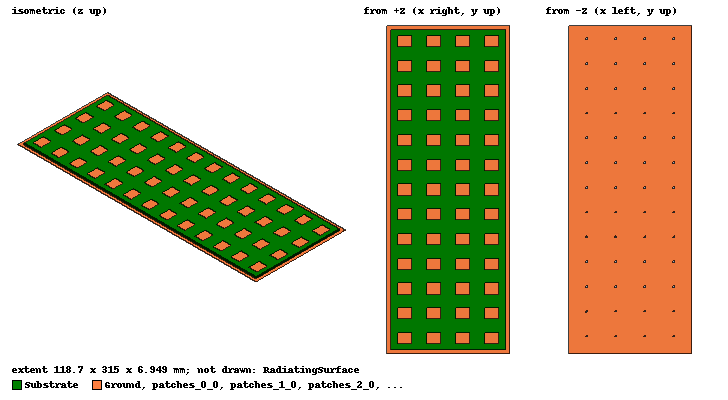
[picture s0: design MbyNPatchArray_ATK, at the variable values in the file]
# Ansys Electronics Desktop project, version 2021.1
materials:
  vacuum: permittivity=1
  Teflon (tm): permittivity=2.1 dielectric_loss_tangent=0.001
  pec: conductivity=1e+30

design MbyNPatchArray_ATK (HFSS, DrivenTerminal, model units mm)
options: Allow_Material_Override Save_Adaptive_support_files
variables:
  # --Antenna Dimensions
  M = 4
  N = 13
  # --Patch Dimensions
  patch_length_x = 13.39mm
  patch_length_y = 10.66mm
  patch_spacing_x = 27.881mm
  patch_spacing_y = 23.783mm
  feed_pin_x = 0mm
  feed_pin_y = 2.09mm
  # --Feed Dimensions
  coax_inner_rad = 0.278mm
  coax_outer_rad = 0.944mm
  feedLength = 5.55mm
  # --Substrate Dimensions
  substrate_height = 1.272mm
  substrate_length_x = 110.415mm
  substrate_length_y = 306.708mm
  design_freq = 9GHz
  gnd_x = (299792458/(design_freq)/4)+substrate_length_x
  gnd_y = (299792458/(design_freq)/4)+substrate_length_y
  # --Radiating Surface
  Huygens_dist = 3.331mm
  Airbox_dist = 11.1034mm
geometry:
  Substrate [Teflon (tm)] = box(corner=(-substrate_length_x/2, -substrate_length_y/2, 0mm), size=(substrate_length_x, substrate_length_y, substrate_height))
  Ground = rectangle(corner=(-gnd_x/2, -gnd_y/2, 0mm), x_size=gnd_x, y_size=gnd_y)
  patches_0_0 = rectangle(corner=(-patch_length_x/2, -patch_length_y/2, substrate_height), x_size=patch_length_x, y_size=patch_length_y)
  feed_pin_0_0 [pec] = cylinder(axis=Z, base_centre=(feed_pin_x, feed_pin_y, 0mm), radius=coax_inner_rad, height=substrate_height)
  coax_pin_0_0 [pec] = cylinder(axis=Z, base_centre=(feed_pin_x, feed_pin_y, 0mm), radius=coax_inner_rad, height=-feedLength)
  coax_0_0 [Teflon (tm)] = cylinder(axis=Z, base_centre=(feed_pin_x, feed_pin_y, 0mm), radius=coax_outer_rad, height=-feedLength)
  port_cap_0_0 [pec] = cylinder(axis=Z, base_centre=(feed_pin_x, feed_pin_y, -feedLength), radius=coax_outer_rad, height=-substrate_height/10)
  port_0_0 = circle(normal=Z, centre=(feed_pin_x, feed_pin_y, -feedLength), radius=coax_outer_rad)
  NewObject_ECRMW8 = circle(normal=Z, centre=(feed_pin_x, feed_pin_y, 0mm), radius=coax_outer_rad)
  patches_0_0.move(-patch_spacing_x * 1.5, -patch_spacing_y * 6, 0)
  patches_1_0, patches_2_0, patches_3_0 = patches_0_0.duplicate_along_line(step=(patch_spacing_x, 0mm, 0mm), total=4)
  patches_0_1..patches_0_12 = patches_0_0.duplicate_along_line(step=(0mm, patch_spacing_y, 0mm), total=13)
  patches_1_1..patches_1_12 = patches_1_0.duplicate_along_line(step=(0mm, patch_spacing_y, 0mm), total=13)
  patches_2_1..patches_2_12 = patches_2_0.duplicate_along_line(step=(0mm, patch_spacing_y, 0mm), total=13)
  patches_3_1..patches_3_12 = patches_3_0.duplicate_along_line(step=(0mm, patch_spacing_y, 0mm), total=13)
  feed_pin_0_0.move(-patch_spacing_x * 1.5, -patch_spacing_y * 6, 0)
  feed_pin_1_0, feed_pin_2_0, feed_pin_3_0 [pec] = feed_pin_0_0.duplicate_along_line(step=(patch_spacing_x, 0mm, 0mm), total=4)
  feed_pin_0_1..feed_pin_0_12 [pec] = feed_pin_0_0.duplicate_along_line(step=(0mm, patch_spacing_y, 0mm), total=13)
  feed_pin_1_1..feed_pin_1_12 [pec] = feed_pin_1_0.duplicate_along_line(step=(0mm, patch_spacing_y, 0mm), total=13)
  feed_pin_2_1..feed_pin_2_12 [pec] = feed_pin_2_0.duplicate_along_line(step=(0mm, patch_spacing_y, 0mm), total=13)
  feed_pin_3_1..feed_pin_3_12 [pec] = feed_pin_3_0.duplicate_along_line(step=(0mm, patch_spacing_y, 0mm), total=13)
  coax_pin_0_0.move(-patch_spacing_x * 1.5, -patch_spacing_y * 6, 0)
  coax_pin_1_0, coax_pin_2_0, coax_pin_3_0 [pec] = coax_pin_0_0.duplicate_along_line(step=(patch_spacing_x, 0mm, 0mm), total=4)
  coax_pin_0_1..coax_pin_0_12 [pec] = coax_pin_0_0.duplicate_along_line(step=(0mm, patch_spacing_y, 0mm), total=13)
  coax_pin_1_1..coax_pin_1_12 [pec] = coax_pin_1_0.duplicate_along_line(step=(0mm, patch_spacing_y, 0mm), total=13)
  coax_pin_2_1..coax_pin_2_12 [pec] = coax_pin_2_0.duplicate_along_line(step=(0mm, patch_spacing_y, 0mm), total=13)
  coax_pin_3_1..coax_pin_3_12 [pec] = coax_pin_3_0.duplicate_along_line(step=(0mm, patch_spacing_y, 0mm), total=13)
  coax_0_0.move(-patch_spacing_x * 1.5, -patch_spacing_y * 6, 0)
  coax_1_0, coax_2_0, coax_3_0 [Teflon (tm)] = coax_0_0.duplicate_along_line(step=(patch_spacing_x, 0mm, 0mm), total=4)
  coax_0_1..coax_0_12 [Teflon (tm)] = coax_0_0.duplicate_along_line(step=(0mm, patch_spacing_y, 0mm), total=13)
  coax_1_1..coax_1_12 [Teflon (tm)] = coax_1_0.duplicate_along_line(step=(0mm, patch_spacing_y, 0mm), total=13)
  coax_2_1..coax_2_12 [Teflon (tm)] = coax_2_0.duplicate_along_line(step=(0mm, patch_spacing_y, 0mm), total=13)
  coax_3_1..coax_3_12 [Teflon (tm)] = coax_3_0.duplicate_along_line(step=(0mm, patch_spacing_y, 0mm), total=13)
  port_cap_0_0.move(-patch_spacing_x * 1.5, -patch_spacing_y * 6, 0)
  port_cap_1_0, port_cap_2_0, port_cap_3_0 [pec] = port_cap_0_0.duplicate_along_line(step=(patch_spacing_x, 0mm, 0mm), total=4)
  port_cap_0_1..port_cap_0_12 [pec] = port_cap_0_0.duplicate_along_line(step=(0mm, patch_spacing_y, 0mm), total=13)
  port_cap_1_1..port_cap_1_12 [pec] = port_cap_1_0.duplicate_along_line(step=(0mm, patch_spacing_y, 0mm), total=13)
  port_cap_2_1..port_cap_2_12 [pec] = port_cap_2_0.duplicate_along_line(step=(0mm, patch_spacing_y, 0mm), total=13)
  port_cap_3_1..port_cap_3_12 [pec] = port_cap_3_0.duplicate_along_line(step=(0mm, patch_spacing_y, 0mm), total=13)
  port_0_0.move(-patch_spacing_x * 1.5, -patch_spacing_y * 6, 0)
  port_1_0, port_2_0, port_3_0 = port_0_0.duplicate_along_line(step=(patch_spacing_x, 0mm, 0mm), total=4)
  port_0_1..port_0_12 = port_0_0.duplicate_along_line(step=(0mm, patch_spacing_y, 0mm), total=13)
  port_1_1..port_1_12 = port_1_0.duplicate_along_line(step=(0mm, patch_spacing_y, 0mm), total=13)
  port_2_1..port_2_12 = port_2_0.duplicate_along_line(step=(0mm, patch_spacing_y, 0mm), total=13)
  port_3_1..port_3_12 = port_3_0.duplicate_along_line(step=(0mm, patch_spacing_y, 0mm), total=13)
  NewObject_ECRMW8.move(-patch_spacing_x * 1.5, -patch_spacing_y * 6, 0)
  NewObject_ECRMW8_1, NewObject_ECRMW8_2, NewObject_ECRMW8_3 = NewObject_ECRMW8.duplicate_along_line(step=(patch_spacing_x, 0mm, 0mm), total=4)
  NewObject_ECRMW8_4..NewObject_ECRMW8_15 = NewObject_ECRMW8.duplicate_along_line(step=(0mm, patch_spacing_y, 0mm), total=13)
  NewObject_ECRMW8_1_1..NewObject_ECRMW8_1_12 = NewObject_ECRMW8_1.duplicate_along_line(step=(0mm, patch_spacing_y, 0mm), total=13)
  NewObject_ECRMW8_2_1..NewObject_ECRMW8_2_12 = NewObject_ECRMW8_2.duplicate_along_line(step=(0mm, patch_spacing_y, 0mm), total=13)
  NewObject_ECRMW8_3_1..NewObject_ECRMW8_3_12 = NewObject_ECRMW8_3.duplicate_along_line(step=(0mm, patch_spacing_y, 0mm), total=13)
  Ground.subtract(NewObject_ECRMW8, NewObject_ECRMW8_4..NewObject_ECRMW8_15)
  Ground.subtract(NewObject_ECRMW8_1, NewObject_ECRMW8_1_1..NewObject_ECRMW8_1_12)
  Ground.subtract(NewObject_ECRMW8_2, NewObject_ECRMW8_2_1..NewObject_ECRMW8_2_12)
  Ground.subtract(NewObject_ECRMW8_3, NewObject_ECRMW8_3_1..NewObject_ECRMW8_3_12)
  RadiatingSurface [vacuum] = region(absolute_offset: +X=0cm, -X=0cm, +Y=0cm, -Y=0cm, +Z=11.111111mm, -Z=0mm)
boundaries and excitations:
  antennaMetal_0_0: Perfect E Objects=patches_0_0
  antennaMetal_0_1: Perfect E Objects=patches_0_1
  antennaMetal_0_2: Perfect E Objects=patches_0_2
  antennaMetal_0_3: Perfect E Objects=patches_0_3
  antennaMetal_0_4: Perfect E Objects=patches_0_4
  antennaMetal_0_5: Perfect E Objects=patches_0_5
  antennaMetal_0_6: Perfect E Objects=patches_0_6
  antennaMetal_0_7: Perfect E Objects=patches_0_7
  antennaMetal_0_8: Perfect E Objects=patches_0_8
  antennaMetal_0_9: Perfect E Objects=patches_0_9
  antennaMetal_0_10: Perfect E Objects=patches_0_10
  antennaMetal_0_11: Perfect E Objects=patches_0_11
  antennaMetal_0_12: Perfect E Objects=patches_0_12
  antennaMetal_1_0: Perfect E Objects=patches_1_0
  antennaMetal_1_1: Perfect E Objects=patches_1_1
  antennaMetal_1_2: Perfect E Objects=patches_1_2
  antennaMetal_1_3: Perfect E Objects=patches_1_3
  antennaMetal_1_4: Perfect E Objects=patches_1_4
  antennaMetal_1_5: Perfect E Objects=patches_1_5
  antennaMetal_1_6: Perfect E Objects=patches_1_6
  antennaMetal_1_7: Perfect E Objects=patches_1_7
  antennaMetal_1_8: Perfect E Objects=patches_1_8
  antennaMetal_1_9: Perfect E Objects=patches_1_9
  antennaMetal_1_10: Perfect E Objects=patches_1_10
  antennaMetal_1_11: Perfect E Objects=patches_1_11
  antennaMetal_1_12: Perfect E Objects=patches_1_12
  antennaMetal_2_0: Perfect E Objects=patches_2_0
  antennaMetal_2_1: Perfect E Objects=patches_2_1
  antennaMetal_2_2: Perfect E Objects=patches_2_2
  antennaMetal_2_3: Perfect E Objects=patches_2_3
  antennaMetal_2_4: Perfect E Objects=patches_2_4
  antennaMetal_2_5: Perfect E Objects=patches_2_5
  antennaMetal_2_6: Perfect E Objects=patches_2_6
  antennaMetal_2_7: Perfect E Objects=patches_2_7
  antennaMetal_2_8: Perfect E Objects=patches_2_8
  antennaMetal_2_9: Perfect E Objects=patches_2_9
  antennaMetal_2_10: Perfect E Objects=patches_2_10
  antennaMetal_2_11: Perfect E Objects=patches_2_11
  antennaMetal_2_12: Perfect E Objects=patches_2_12
  antennaMetal_3_0: Perfect E Objects=patches_3_0
  antennaMetal_3_1: Perfect E Objects=patches_3_1
  antennaMetal_3_2: Perfect E Objects=patches_3_2
  antennaMetal_3_3: Perfect E Objects=patches_3_3
  antennaMetal_3_4: Perfect E Objects=patches_3_4
  antennaMetal_3_5: Perfect E Objects=patches_3_5
  antennaMetal_3_6: Perfect E Objects=patches_3_6
  antennaMetal_3_7: Perfect E Objects=patches_3_7
  antennaMetal_3_8: Perfect E Objects=patches_3_8
  antennaMetal_3_9: Perfect E Objects=patches_3_9
  antennaMetal_3_10: Perfect E Objects=patches_3_10
  antennaMetal_3_11: Perfect E Objects=patches_3_11
  antennaMetal_3_12: Perfect E Objects=patches_3_12
  coax_outer_0_0: Perfect E Faces=coax_0_0.face(1 of 3)
  coax_outer_0_1: Perfect E Faces=coax_0_1.face(1 of 3)
  coax_outer_0_2: Perfect E Faces=coax_0_2.face(1 of 3)
  coax_outer_0_3: Perfect E Faces=coax_0_3.face(1 of 3)
  coax_outer_0_4: Perfect E Faces=coax_0_4.face(1 of 3)
  coax_outer_0_5: Perfect E Faces=coax_0_5.face(1 of 3)
  coax_outer_0_6: Perfect E Faces=coax_0_6.face(1 of 3)
  coax_outer_0_7: Perfect E Faces=coax_0_7.face(1 of 3)
  coax_outer_0_8: Perfect E Faces=coax_0_8.face(1 of 3)
  coax_outer_0_9: Perfect E Faces=coax_0_9.face(1 of 3)
  coax_outer_0_10: Perfect E Faces=coax_0_10.face(1 of 3)
  coax_outer_0_11: Perfect E Faces=coax_0_11.face(1 of 3)
  coax_outer_0_12: Perfect E Faces=coax_0_12.face(1 of 3)
  coax_outer_1_0: Perfect E Faces=coax_1_0.face(1 of 3)
  coax_outer_1_1: Perfect E Faces=coax_1_1.face(1 of 3)
  coax_outer_1_2: Perfect E Faces=coax_1_2.face(1 of 3)
  coax_outer_1_3: Perfect E Faces=coax_1_3.face(1 of 3)
  coax_outer_1_4: Perfect E Faces=coax_1_4.face(1 of 3)
  coax_outer_1_5: Perfect E Faces=coax_1_5.face(1 of 3)
  coax_outer_1_6: Perfect E Faces=coax_1_6.face(1 of 3)
  coax_outer_1_7: Perfect E Faces=coax_1_7.face(1 of 3)
  coax_outer_1_8: Perfect E Faces=coax_1_8.face(1 of 3)
  coax_outer_1_9: Perfect E Faces=coax_1_9.face(1 of 3)
  coax_outer_1_10: Perfect E Faces=coax_1_10.face(1 of 3)
  coax_outer_1_11: Perfect E Faces=coax_1_11.face(1 of 3)
  coax_outer_1_12: Perfect E Faces=coax_1_12.face(1 of 3)
  coax_outer_2_0: Perfect E Faces=coax_2_0.face(1 of 3)
  coax_outer_2_1: Perfect E Faces=coax_2_1.face(1 of 3)
  coax_outer_2_2: Perfect E Faces=coax_2_2.face(1 of 3)
  coax_outer_2_3: Perfect E Faces=coax_2_3.face(1 of 3)
  coax_outer_2_4: Perfect E Faces=coax_2_4.face(1 of 3)
  coax_outer_2_5: Perfect E Faces=coax_2_5.face(1 of 3)
  coax_outer_2_6: Perfect E Faces=coax_2_6.face(1 of 3)
  coax_outer_2_7: Perfect E Faces=coax_2_7.face(1 of 3)
  coax_outer_2_8: Perfect E Faces=coax_2_8.face(1 of 3)
  coax_outer_2_9: Perfect E Faces=coax_2_9.face(1 of 3)
  coax_outer_2_10: Perfect E Faces=coax_2_10.face(1 of 3)
  coax_outer_2_11: Perfect E Faces=coax_2_11.face(1 of 3)
  coax_outer_2_12: Perfect E Faces=coax_2_12.face(1 of 3)
  coax_outer_3_0: Perfect E Faces=coax_3_0.face(1 of 3)
  coax_outer_3_1: Perfect E Faces=coax_3_1.face(1 of 3)
  coax_outer_3_2: Perfect E Faces=coax_3_2.face(1 of 3)
  coax_outer_3_3: Perfect E Faces=coax_3_3.face(1 of 3)
  coax_outer_3_4: Perfect E Faces=coax_3_4.face(1 of 3)
  coax_outer_3_5: Perfect E Faces=coax_3_5.face(1 of 3)
  coax_outer_3_6: Perfect E Faces=coax_3_6.face(1 of 3)
  coax_outer_3_7: Perfect E Faces=coax_3_7.face(1 of 3)
  coax_outer_3_8: Perfect E Faces=coax_3_8.face(1 of 3)
  coax_outer_3_9: Perfect E Faces=coax_3_9.face(1 of 3)
  coax_outer_3_10: Perfect E Faces=coax_3_10.face(1 of 3)
  coax_outer_3_11: Perfect E Faces=coax_3_11.face(1 of 3)
  coax_outer_3_12: Perfect E Faces=coax_3_12.face(1 of 3)
  groundMetal: Perfect E Objects=Ground InfGroundPlane
  Open1: Radiation Faces=RadiatingSurface.face(+z, -y, -x, +y, +x)
  coax_pin_0_0_T1: Terminal port=1 Faces=coax_pin_0_0.face(2 of 3) TerminalResistance=50ohm
  coax_pin_0_1_T1: Terminal port=2 Faces=coax_pin_0_1.face(2 of 3) TerminalResistance=50ohm
  coax_pin_0_2_T1: Terminal port=3 Faces=coax_pin_0_2.face(2 of 3) TerminalResistance=50ohm
  coax_pin_0_3_T1: Terminal port=4 Faces=coax_pin_0_3.face(2 of 3) TerminalResistance=50ohm
  coax_pin_0_4_T1: Terminal port=5 Faces=coax_pin_0_4.face(2 of 3) TerminalResistance=50ohm
  coax_pin_0_5_T1: Terminal port=6 Faces=coax_pin_0_5.face(2 of 3) TerminalResistance=50ohm
  coax_pin_0_6_T1: Terminal port=7 Faces=coax_pin_0_6.face(2 of 3) TerminalResistance=50ohm
  coax_pin_0_7_T1: Terminal port=8 Faces=coax_pin_0_7.face(2 of 3) TerminalResistance=50ohm
  coax_pin_0_8_T1: Terminal port=9 Faces=coax_pin_0_8.face(2 of 3) TerminalResistance=50ohm
  coax_pin_0_9_T1: Terminal port=10 Faces=coax_pin_0_9.face(2 of 3) TerminalResistance=50ohm
  coax_pin_0_10_T1: Terminal port=11 Faces=coax_pin_0_10.face(2 of 3) TerminalResistance=50ohm
  coax_pin_0_11_T1: Terminal port=12 Faces=coax_pin_0_11.face(2 of 3) TerminalResistance=50ohm
  coax_pin_0_12_T1: Terminal port=13 Faces=coax_pin_0_12.face(2 of 3) TerminalResistance=50ohm
  coax_pin_1_0_T1: Terminal port=14 Faces=coax_pin_1_0.face(2 of 3) TerminalResistance=50ohm
  coax_pin_1_1_T1: Terminal port=15 Faces=coax_pin_1_1.face(2 of 3) TerminalResistance=50ohm
  coax_pin_1_2_T1: Terminal port=16 Faces=coax_pin_1_2.face(2 of 3) TerminalResistance=50ohm
  coax_pin_1_3_T1: Terminal port=17 Faces=coax_pin_1_3.face(2 of 3) TerminalResistance=50ohm
  coax_pin_1_4_T1: Terminal port=18 Faces=coax_pin_1_4.face(2 of 3) TerminalResistance=50ohm
  coax_pin_1_5_T1: Terminal port=19 Faces=coax_pin_1_5.face(2 of 3) TerminalResistance=50ohm
  coax_pin_1_6_T1: Terminal port=20 Faces=coax_pin_1_6.face(2 of 3) TerminalResistance=50ohm
  coax_pin_1_7_T1: Terminal port=21 Faces=coax_pin_1_7.face(2 of 3) TerminalResistance=50ohm
  coax_pin_1_8_T1: Terminal port=22 Faces=coax_pin_1_8.face(2 of 3) TerminalResistance=50ohm
  coax_pin_1_9_T1: Terminal port=23 Faces=coax_pin_1_9.face(2 of 3) TerminalResistance=50ohm
  coax_pin_1_10_T1: Terminal port=24 Faces=coax_pin_1_10.face(2 of 3) TerminalResistance=50ohm
  coax_pin_1_11_T1: Terminal port=25 Faces=coax_pin_1_11.face(2 of 3) TerminalResistance=50ohm
  coax_pin_1_12_T1: Terminal port=26 Faces=coax_pin_1_12.face(2 of 3) TerminalResistance=50ohm
  coax_pin_2_0_T1: Terminal port=27 Faces=coax_pin_2_0.face(2 of 3) TerminalResistance=50ohm
  coax_pin_2_1_T1: Terminal port=28 Faces=coax_pin_2_1.face(2 of 3) TerminalResistance=50ohm
  coax_pin_2_2_T1: Terminal port=29 Faces=coax_pin_2_2.face(2 of 3) TerminalResistance=50ohm
  coax_pin_2_3_T1: Terminal port=30 Faces=coax_pin_2_3.face(2 of 3) TerminalResistance=50ohm
  coax_pin_2_4_T1: Terminal port=31 Faces=coax_pin_2_4.face(2 of 3) TerminalResistance=50ohm
  coax_pin_2_5_T1: Terminal port=32 Faces=coax_pin_2_5.face(2 of 3) TerminalResistance=50ohm
  coax_pin_2_6_T1: Terminal port=33 Faces=coax_pin_2_6.face(2 of 3) TerminalResistance=50ohm
  coax_pin_2_7_T1: Terminal port=34 Faces=coax_pin_2_7.face(2 of 3) TerminalResistance=50ohm
  coax_pin_2_8_T1: Terminal port=35 Faces=coax_pin_2_8.face(2 of 3) TerminalResistance=50ohm
  coax_pin_2_9_T1: Terminal port=36 Faces=coax_pin_2_9.face(2 of 3) TerminalResistance=50ohm
  coax_pin_2_10_T1: Terminal port=37 Faces=coax_pin_2_10.face(2 of 3) TerminalResistance=50ohm
  coax_pin_2_11_T1: Terminal port=38 Faces=coax_pin_2_11.face(2 of 3) TerminalResistance=50ohm
  coax_pin_2_12_T1: Terminal port=39 Faces=coax_pin_2_12.face(2 of 3) TerminalResistance=50ohm
  coax_pin_3_0_T1: Terminal port=40 Faces=coax_pin_3_0.face(2 of 3) TerminalResistance=50ohm
  coax_pin_3_1_T1: Terminal port=41 Faces=coax_pin_3_1.face(2 of 3) TerminalResistance=50ohm
  coax_pin_3_2_T1: Terminal port=42 Faces=coax_pin_3_2.face(2 of 3) TerminalResistance=50ohm
  coax_pin_3_3_T1: Terminal port=43 Faces=coax_pin_3_3.face(2 of 3) TerminalResistance=50ohm
  coax_pin_3_4_T1: Terminal port=44 Faces=coax_pin_3_4.face(2 of 3) TerminalResistance=50ohm
  coax_pin_3_5_T1: Terminal port=45 Faces=coax_pin_3_5.face(2 of 3) TerminalResistance=50ohm
  coax_pin_3_6_T1: Terminal port=46 Faces=coax_pin_3_6.face(2 of 3) TerminalResistance=50ohm
  coax_pin_3_7_T1: Terminal port=47 Faces=coax_pin_3_7.face(2 of 3) TerminalResistance=50ohm
  coax_pin_3_8_T1: Terminal port=48 Faces=coax_pin_3_8.face(2 of 3) TerminalResistance=50ohm
  coax_pin_3_9_T1: Terminal port=49 Faces=coax_pin_3_9.face(2 of 3) TerminalResistance=50ohm
  coax_pin_3_10_T1: Terminal port=50 Faces=coax_pin_3_10.face(2 of 3) TerminalResistance=50ohm
  coax_pin_3_11_T1: Terminal port=51 Faces=coax_pin_3_11.face(2 of 3) TerminalResistance=50ohm
  coax_pin_3_12_T1: Terminal port=52 Faces=coax_pin_3_12.face(2 of 3) TerminalResistance=50ohm
  1: Wave Port Faces=port_0_0.face(#98) NumModes=1
  2: Wave Port Faces=port_0_1.face NumModes=1
  3: Wave Port Faces=port_0_2.face NumModes=1
  4: Wave Port Faces=port_0_3.face NumModes=1
  5: Wave Port Faces=port_0_4.face NumModes=1
  6: Wave Port Faces=port_0_5.face NumModes=1
  7: Wave Port Faces=port_0_6.face NumModes=1
  8: Wave Port Faces=port_0_7.face NumModes=1
  9: Wave Port Faces=port_0_8.face NumModes=1
  10: Wave Port Faces=port_0_9.face NumModes=1
  11: Wave Port Faces=port_0_10.face NumModes=1
  12: Wave Port Faces=port_0_11.face NumModes=1
  13: Wave Port Faces=port_0_12.face NumModes=1
  14: Wave Port Faces=port_1_0.face NumModes=1
  15: Wave Port Faces=port_1_1.face NumModes=1
  16: Wave Port Faces=port_1_2.face NumModes=1
  17: Wave Port Faces=port_1_3.face NumModes=1
  18: Wave Port Faces=port_1_4.face NumModes=1
  19: Wave Port Faces=port_1_5.face NumModes=1
  20: Wave Port Faces=port_1_6.face NumModes=1
  21: Wave Port Faces=port_1_7.face NumModes=1
  22: Wave Port Faces=port_1_8.face NumModes=1
  23: Wave Port Faces=port_1_9.face NumModes=1
  24: Wave Port Faces=port_1_10.face NumModes=1
  25: Wave Port Faces=port_1_11.face NumModes=1
  26: Wave Port Faces=port_1_12.face NumModes=1
  27: Wave Port Faces=port_2_0.face NumModes=1
  28: Wave Port Faces=port_2_1.face NumModes=1
  29: Wave Port Faces=port_2_2.face NumModes=1
  30: Wave Port Faces=port_2_3.face NumModes=1
  31: Wave Port Faces=port_2_4.face NumModes=1
  32: Wave Port Faces=port_2_5.face NumModes=1
  33: Wave Port Faces=port_2_6.face NumModes=1
  34: Wave Port Faces=port_2_7.face NumModes=1
  35: Wave Port Faces=port_2_8.face NumModes=1
  36: Wave Port Faces=port_2_9.face NumModes=1
  37: Wave Port Faces=port_2_10.face NumModes=1
  38: Wave Port Faces=port_2_11.face NumModes=1
  39: Wave Port Faces=port_2_12.face NumModes=1
  40: Wave Port Faces=port_3_0.face NumModes=1
  41: Wave Port Faces=port_3_1.face NumModes=1
  42: Wave Port Faces=port_3_2.face NumModes=1
  43: Wave Port Faces=port_3_3.face NumModes=1
  44: Wave Port Faces=port_3_4.face NumModes=1
  45: Wave Port Faces=port_3_5.face NumModes=1
  46: Wave Port Faces=port_3_6.face NumModes=1
  47: Wave Port Faces=port_3_7.face NumModes=1
  48: Wave Port Faces=port_3_8.face NumModes=1
  49: Wave Port Faces=port_3_9.face NumModes=1
  50: Wave Port Faces=port_3_10.face NumModes=1
  51: Wave Port Faces=port_3_11.face NumModes=1
  52: Wave Port Faces=port_3_12.face NumModes=1
  reference conductors: port_cap_3_12
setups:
  ATK_Solution: HfssDriven Frequency=9GHz MaxDeltaS=0.02 MaximumPasses=15 MinimumPasses=1 MinimumConvergedPasses=1 PercentRefinement=30 BasisOrder=1 PortAccuracy=2 IESolverType=ACA
    sweep FF_Sweep: 4.5GHz to 13.5GHz, 3 points; Type=Discrete SaveFields
    sweep SParam_Sweep: 4.5GHz to 13.5GHz, 100 points; Type=Interpolating InterpTolerance=0.5 InterpMaxSolns=250 PassivityErrorTolerance=0.0001
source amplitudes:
  1:1: 1V 0deg
  2:1, 3:1, 4:1, 5:1, 6:1, 7:1, 8:1, 9:1, 10:1, 11:1, 12:1, 13:1, 14:1, 15:1, 16:1, 17:1, 18:1, 19:1, 20:1, 21:1, 22:1, 23:1, 24:1, 25:1, 26:1, 27:1, 28:1, 29:1, 30:1, 31:1, 32:1, 33:1, 34:1, 35:1, 36:1, 37:1, 38:1, 39:1, 40:1, 41:1, 42:1, 43:1, 44:1, 45:1, 46:1, 47:1, 48:1, 49:1, 50:1, 51:1, 52:1: 0V 0deg
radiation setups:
  3D: Infinite Sphere Theta=0deg..180deg step 2deg Phi=-180deg..180deg step 2deg
  Elevation: Infinite Sphere Theta=-180deg..180deg step 1deg Phi=0deg..90deg step 90deg
  Azimuth: Infinite Sphere Theta=90deg..90deg step 0deg Phi=-180deg..180deg step 1deg
  ATK_2D: Infinite Sphere Theta=-180deg..180deg step 1deg Phi=0deg..90deg step 90deg
  ATK_3D: Infinite Sphere Theta=-180deg..180deg step 2deg Phi=0deg..180deg step 5deg
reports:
  ff_3D_GainTotal: dB(GainTotal) vs Phi, Theta on ATK_Solution : LastAdaptive, ATK_3D [Freq=9e+09]
  ff_2D_GainTotal: dB(GainTotal) vs Theta on ATK_Solution : LastAdaptive, ATK_2D [Phi=all Freq=9e+09]
  ff_2D_GainTotal_Stacked: dB(GainTotal) vs Theta on ATK_Solution : FF_Sweep, ATK_2D [Phi=all Freq=all]
  Return Loss: dB(St11), dB(St22), dB(St33), dB(St44), dB(St55), dB(St66), dB(St77), dB(St88), dB(St99), dB(St1010), dB(St1111), dB(St1212), dB(St1313), dB(St1414), dB(St1515), dB(St1616), dB(St1717), dB(St1818), dB(St1919), dB(St2020), dB(St2121), dB(St2222), dB(St2323), dB(St2424), dB(St2525), dB(St2626), dB(St2727), dB(St2828), dB(St2929), dB(St3030), dB(St3131), dB(St3232), dB(St3333), dB(St3434), dB(St3535), dB(St3636), dB(St3737), dB(St3838), dB(St3939), dB(St4040)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 vs Freq on ATK_Solution : SParam_Sweep; markers m1 at 8.4090909GHz, m2 at 8.6818182GHz, m3 at 8.6818182GHz, m4 at 8.5GHz, m5 at 8.5GHz, m6 at 8.5GHz, m7 at 8.6295959GHz, m8 at 8.5GHz
  Input Impedance: St11, St22, St33, St44, St55, St66, St77, St88, St99, St1010, St1111, St1212, St1313, St1414, St1515, St1616, St1717, St1818, St1919, St2020, St2121, St2222, St2323, St2424, St2525, St2626, St2727, St2828, St2929, St3030, St3131, St3232, St3333, St3434, St3535, St3636, St3737, St3838, St3939, St4040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 on ATK_Solution : SParam_Sweep [Freq=all]
